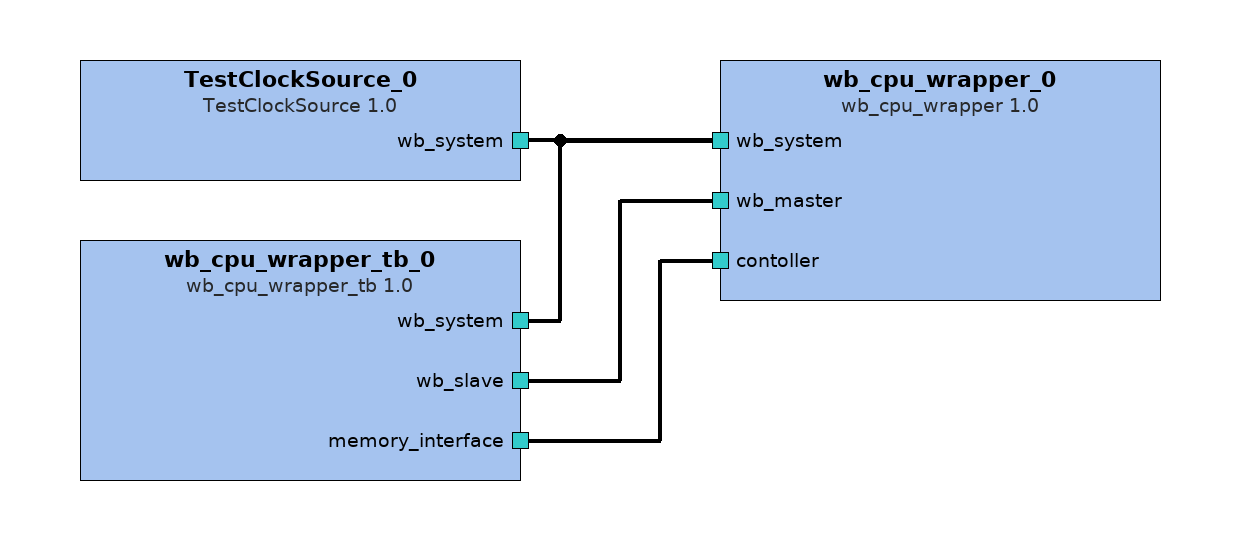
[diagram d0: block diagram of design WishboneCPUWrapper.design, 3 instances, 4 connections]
<?xml version="1.0" encoding="UTF-8"?>
<ipxact:design xmlns:xsi="http://www.w3.org/2001/XMLSchema-instance" xmlns:ipxact="http://www.accellera.org/XMLSchema/IPXACT/1685-2014" xmlns:kactus2="http://kactus2.cs.tut.fi" xsi:schemaLocation="http://www.accellera.org/XMLSchema/IPXACT/1685-2014/ http://www.accellera.org/XMLSchema/IPXACT/1685-2014/index.xsd"><ipxact:vendor>tut.fi</ipxact:vendor><ipxact:library>testBench</ipxact:library><ipxact:name>WishboneCPUWrapper.design</ipxact:name>
 <ipxact:version>1.0</ipxact:version><ipxact:componentInstances>
 <ipxact:componentInstance><ipxact:instanceName>wb_cpu_wrapper_tb_0</ipxact:instanceName><ipxact:componentRef vendor="tut.fi" library="testBench" name="wb_cpu_wrapper_tb" version="1.0"/></ipxact:componentInstance>
 <ipxact:componentInstance><ipxact:instanceName>TestClockSource_0</ipxact:instanceName><ipxact:componentRef vendor="tut.fi" library="testBench" name="TestClockSource" version="1.0"><ipxact:configurableElementValues><ipxact:configurableElementValue referenceId="uuid_d3a6969c_8076_4ad3_9b17_763b80d83ec8">2000</ipxact:configurableElementValue></ipxact:configurableElementValues></ipxact:componentRef></ipxact:componentInstance>
 <ipxact:componentInstance><ipxact:instanceName>wb_cpu_wrapper_0</ipxact:instanceName><ipxact:componentRef vendor="tut.fi" library="communication" name="wb_cpu_wrapper" version="1.0"/></ipxact:componentInstance>
</ipxact:componentInstances><ipxact:interconnections>
 <ipxact:interconnection><ipxact:name>wb_cpu_wrapper_0_wb_system_to_TestClockSource_0_wb_system</ipxact:name><ipxact:activeInterface componentRef="wb_cpu_wrapper_0" busRef="wb_system"/><ipxact:activeInterface componentRef="TestClockSource_0" busRef="wb_system"/></ipxact:interconnection>
 <ipxact:interconnection><ipxact:name>wb_cpu_wrapper_tb_0_wb_system_to_wb_cpu_wrapper_0_wb_system</ipxact:name><ipxact:activeInterface componentRef="wb_cpu_wrapper_tb_0" busRef="wb_system"/><ipxact:activeInterface componentRef="wb_cpu_wrapper_0" busRef="wb_system"/></ipxact:interconnection>
 <ipxact:interconnection><ipxact:name>wb_cpu_wrapper_tb_0_wb_slave_to_wb_cpu_wrapper_0_wb_master</ipxact:name><ipxact:activeInterface componentRef="wb_cpu_wrapper_tb_0" busRef="wb_slave"/><ipxact:activeInterface componentRef="wb_cpu_wrapper_0" busRef="wb_master"/></ipxact:interconnection>
 <ipxact:interconnection><ipxact:name>wb_cpu_wrapper_tb_0_memory_interface_to_wb_cpu_wrapper_0_contoller</ipxact:name><ipxact:activeInterface componentRef="wb_cpu_wrapper_tb_0" busRef="memory_interface"/><ipxact:activeInterface componentRef="wb_cpu_wrapper_0" busRef="contoller"/></ipxact:interconnection>
</ipxact:interconnections></ipxact:design>

